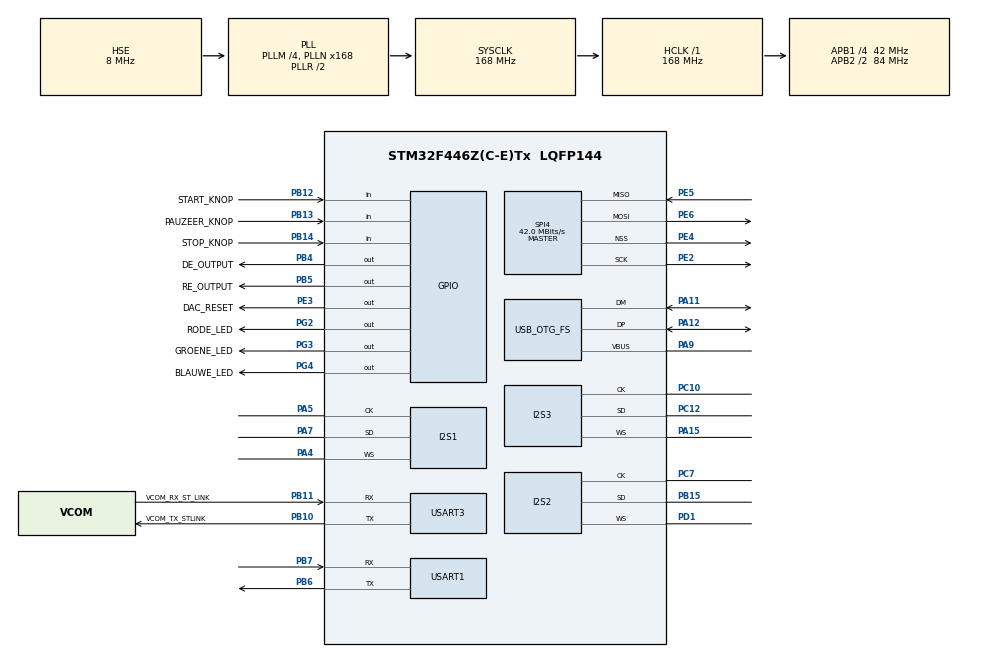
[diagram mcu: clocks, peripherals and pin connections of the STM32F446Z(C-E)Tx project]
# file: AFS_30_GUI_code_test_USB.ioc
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I2S1.AudioFreq=I2S_AUDIOFREQ_48K
I2S1.DataFormat=I2S_DATAFORMAT_24B
I2S1.ErrorAudioFreq=1.72 %
I2S1.FullDuplexMode=I2S_FULLDUPLEXMODE_DISABLE
I2S1.Instance=SPI$Index
I2S1.RealAudioFreq=48.828 KHz
I2S1.Standard=I2S_STANDARD_PHILIPS
I2S1.VirtualMode=I2S_MODE_MASTER
I2S2.AudioFreq=I2S_AUDIOFREQ_48K
I2S2.DataFormat=I2S_DATAFORMAT_24B
I2S2.ErrorAudioFreq=1.72 %
I2S2.FullDuplexMode=I2S_FULLDUPLEXMODE_DISABLE
I2S2.Instance=SPI$Index
I2S2.RealAudioFreq=48.828 KHz
I2S2.VirtualMode=I2S_MODE_MASTER
I2S3.AudioFreq=I2S_AUDIOFREQ_48K
I2S3.DataFormat=I2S_DATAFORMAT_24B
I2S3.ErrorAudioFreq=1.72 %
I2S3.FullDuplexMode=I2S_FULLDUPLEXMODE_DISABLE
I2S3.Instance=SPI$Index
I2S3.RealAudioFreq=48.828 KHz
I2S3.VirtualMode=I2S_MODE_MASTER
Mcu.Family=STM32F4
Mcu.Name=STM32F446Z(C-E)Tx
Mcu.Package=LQFP144
NVIC.OTG_FS_IRQn=true\:0\:0\:false\:false\:true\:false\:true\:true
NVIC.PriorityGroup=NVIC_PRIORITYGROUP_4
PA11.Mode=Device_Only
PA11.Signal=USB_OTG_FS_DM
PA12.Mode=Device_Only
PA12.Signal=USB_OTG_FS_DP
PA13.Mode=Serial_Wire
PA13.Signal=SYS_JTMS-SWDIO
PA14.Mode=Serial_Wire
PA14.Signal=SYS_JTCK-SWCLK
PA15.Mode=Half_Duplex_Master
PA15.Signal=I2S3_WS
PA4.Mode=Half_Duplex_Master
PA4.Signal=I2S1_WS
PA5.Mode=Half_Duplex_Master
PA5.Signal=I2S1_CK
PA7.Mode=Half_Duplex_Master
PA7.Signal=I2S1_SD
PA9.Mode=Activate_VBUS
PA9.Signal=USB_OTG_FS_VBUS
PB10.GPIO_Label=VCOM_TX_STLINK
PB10.Mode=Asynchronous
PB10.Signal=USART3_TX
PB11.GPIO_Label=VCOM_RX_ST_LINK
PB11.Mode=Asynchronous
PB11.Signal=USART3_RX
PB12.GPIO_Label=START_KNOP
PB12.Signal=GPIO_Input
PB13.GPIO_Label=PAUZEER_KNOP
PB13.Signal=GPIO_Input
PB14.GPIO_Label=STOP_KNOP
PB14.Signal=GPIO_Input
PB15.Mode=Half_Duplex_Master
PB15.Signal=I2S2_SD
PB4.GPIO_Label=DE_OUTPUT
PB4.Signal=GPIO_Output
PB5.GPIO_Label=RE_OUTPUT
PB5.Signal=GPIO_Output
PB6.Mode=Asynchronous
PB6.Signal=USART1_TX
PB7.Mode=Asynchronous
PB7.Signal=USART1_RX
PC10.Mode=Half_Duplex_Master
PC10.Signal=I2S3_CK
PC12.Mode=Half_Duplex_Master
PC12.Signal=I2S3_SD
PC7.Mode=Half_Duplex_Master
PC7.Signal=I2S2_CK
PD1.Mode=Half_Duplex_Master
PD1.Signal=I2S2_WS
PE2.Mode=Full_Duplex_Master
PE2.Signal=SPI4_SCK
PE3.GPIO_Label=DAC_RESET
PE3.Signal=GPIO_Output
PE4.Mode=NSS_Signal_Hard_Output
PE4.Signal=SPI4_NSS
PE5.Mode=Full_Duplex_Master
PE5.Signal=SPI4_MISO
PE6.Mode=Full_Duplex_Master
PE6.Signal=SPI4_MOSI
PG2.GPIO_Label=RODE_LED
PG2.Signal=GPIO_Output
PG3.GPIO_Label=GROENE_LED
PG3.Signal=GPIO_Output
PG4.GPIO_Label=BLAUWE_LED
PG4.Signal=GPIO_Output
PH0-OSC_IN.Mode=HSE-External-Oscillator
PH0-OSC_IN.Signal=RCC_OSC_IN
PH1-OSC_OUT.Mode=HSE-External-Oscillator
PH1-OSC_OUT.Signal=RCC_OSC_OUT
ProjectManager.HeapSize=0x200
ProjectManager.StackSize=0x400
ProjectManager.TargetToolchain=STM32CubeIDE
RCC.AHBFreq_Value=168000000
RCC.APB1CLKDivider=RCC_HCLK_DIV4
RCC.APB1Freq_Value=42000000
RCC.APB1TimFreq_Value=84000000
RCC.APB2CLKDivider=RCC_HCLK_DIV2
RCC.APB2Freq_Value=84000000
RCC.APB2TimFreq_Value=168000000
RCC.CortexFreq_Value=168000000
RCC.HCLKFreq_Value=168000000
RCC.HSE_VALUE=8000000
RCC.PLLI2SM=6
RCC.PLLI2SN=75
RCC.PLLM=4
RCC.PLLN=168
RCC.PLLQ=7
RCC.SYSCLKFreq_VALUE=168000000
RCC.SYSCLKSource=RCC_SYSCLKSOURCE_PLLRCLK
RCC.USBFreq_Value=48000000
RCC.VCOOutputFreq_Value=336000000
SPI4.BaudRatePrescaler=SPI_BAUDRATEPRESCALER_2
SPI4.CalculateBaudRate=42.0 MBits/s
SPI4.Direction=SPI_DIRECTION_2LINES
SPI4.Mode=SPI_MODE_MASTER
SPI4.VirtualNSS=VM_NSSHARD
SPI4.VirtualType=VM_MASTER
USART1.VirtualMode=VM_ASYNC
USART3.VirtualMode=VM_ASYNC
USB_DEVICE.CLASS_NAME_FS=CDC
USB_DEVICE.PRODUCT_STRING_CDC_FS=YOUNES STM32
USB_DEVICE.VirtualMode-CDC_FS=Cdc
USB_DEVICE.VirtualModeFS=Cdc_FS
USB_OTG_FS.VirtualMode=Device_Only
VP_USB_DEVICE_VS_USB_DEVICE_CDC_FS.Mode=CDC_FS
board=custom

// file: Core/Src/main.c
/* USER CODE BEGIN Header */
/**
  ******************************************************************************
  * @file           : main.c
  * @brief          : Main program body
  ******************************************************************************
  * @attention
  *
  * Copyright (c) 2024 STMicroelectronics.
  * All rights reserved.
  *
  * This software is licensed under terms that can be found in the LICENSE file
  * in the root directory of this software component.
  * If no LICENSE file comes with this software, it is provided AS-IS.
  *
  ******************************************************************************
  */
/* USER CODE END Header */
#include "main.h"
#include "usb_device.h"

/* USER CODE BEGIN Includes */
#include <string.h>
#include <stdio.h>
/* USER CODE END Includes */

/* USER CODE BEGIN PD */
#define GPIO_PORT_VBUS GPIOA   // De GPIO-poort voor VBUS (bijv. GPIOA)
#define GPIO_PIN_VBUS  GPIO_PIN_9   // De specifieke pin (bijv. pin 9 op GPIOA)

#define BUFFER_SIZE 1024   // Vergroot de buffer naar 512 karakters
#define WAITING_FOR_SETTINGS "WACHT_OP_INSTELLINGEN"
#define READY_STATUS "GEREED"
#define TEST_RUNNING "BEZIG_MET_TEST"
#define TEST_PAUSED "GEPAUZEERD"
#define TEST_COMPLETED "VOLTOOID"
#define TEST_STOPPED "GESTOPT"

/* USER CODE END PD */

I2S_HandleTypeDef hi2s1;
I2S_HandleTypeDef hi2s2;
I2S_HandleTypeDef hi2s3;

SPI_HandleTypeDef hspi4;

UART_HandleTypeDef huart1;
UART_HandleTypeDef huart3;

/* USER CODE BEGIN PV */

char *data= "Hello world, USB is working \r\n";
uint8_t buffer [64];
char receivedData[BUFFER_SIZE];  // Buffer to store received data
uint32_t receivedLength = 0;  // Houd de lengte van de ontvangen data bij
float stroom_s1, stroom_s2, stroom_s3;

// Globale variabelen voor THD scenario 1
float thd_s1_rms;  // RMS stroom voor THD scenario 1
int thd_s1_3h, thd_s1_5h, thd_s1_7h, thd_s1_9h, thd_s1_11h, thd_s1_13h;  // Oneven harmonischen voor THD scenario 1

// Globale variabelen voor THD scenario 2
float thd_s2_rms;  // RMS stroom voor THD scenario 2
int thd_s2_3h, thd_s2_5h, thd_s2_7h, thd_s2_9h, thd_s2_11h, thd_s2_13h;  // Oneven harmonischen voor THD scenario 2

// Globale variabelen voor THD scenario 3
float thd_s3_rms;  // RMS stroom voor THD scenario 3
int thd_s3_3h, thd_s3_5h, thd_s3_7h, thd_s3_9h, thd_s3_11h, thd_s3_13h;  // Oneven harmonischen voor THD scenario 3
int start_testprocedure;

/* USER CODE END PV */

void SystemClock_Config(void);
void PeriphCommonClock_Config(void);
static void MX_GPIO_Init(void);
static void MX_I2S1_Init(void);
static void MX_I2S2_Init(void);
static void MX_I2S3_Init(void);
static void MX_SPI4_Init(void);
static void MX_USART1_UART_Init(void);
static void MX_USART3_UART_Init(void);

/* USER CODE BEGIN 0 */
//void CheckReceivedData(void)
//{
//  /* Check if the received data contains the target string */
//  if (strstr(receivedData, "Hello world, USB is working") != NULL) {
//
//    /* Clear the buffer after matching */
//    memset(receivedData, '\0', sizeof(receivedData));
//    receivedLength = 0;
//  }
//
//}
/* USER CODE BEGIN PD */

/* USER CODE END PD */

/* USER CODE BEGIN 4 */

// Functie om status door te geven via USB
void send_active_scenario_to_gui(int scenario_number) {
    char scenario_message[64];
    sprintf(scenario_message, "ACTIEF_SCENARIO=%d\n", scenario_number);
    send_status_to_gui(scenario_message);
}

void send_status_to_gui(char* status_message) {
    CDC_Transmit_FS((uint8_t *)status_message, strlen(status_message));
}

// Functie om te checken of de knoppen voor starten, pauzeren of stoppen zijn ingedrukt

// Simuleer de ontvangst van instellingen en stuur statusupdates naar de GUI
void receive_settings_and_update_status(void) {
    // Wachten op instellingen

    send_status_to_gui(WAITING_FOR_SETTINGS);

    // Simuleer een vertraging voor het ontvangen van instellingen

    // Zodra instellingen zijn ontvangen, stuur de status "Gereed"

}

// Functie om de volledige testprocedure te beheren
void run_test_procedure(void) {
    // Start de testprocedure

	if (start_testprocedure== 1){
		send_status_to_gui(TEST_RUNNING);
	    for (int scenario = 1; scenario <= 6; scenario++) {
	        // Stuur het actieve scenario naar de GUI
	        send_active_scenario_to_gui(scenario);

	        // Simuleer een vertraging tijdens het draaien van dit scenario
	        HAL_Delay(5000);  // 5 seconden per scenario
	    }

	    // Eindig met het versturen van de voltooid-status
	    send_status_to_gui(TEST_COMPLETED);

	}

    // Simuleer het uitvoeren van de test

}
void CheckReceivedData(void)
{
  // Simuleer het ontvangen van data (normaliter via USB/UART)
  if (receivedLength > 0) {
    parse_received_data(receivedData);  // Verwerk de ontvangen gegevens
    memset(receivedData, 0, BUFFER_SIZE);  // Clear de buffer na verwerking
    receivedLength = 0;
  }
}

// Functie om de ontvangen data te parsen
void parse_received_data(char* data)
{
    // Verwacht dataformaat: "STROOM_S1=100.000;STROOM_S2=200.000;THD_S1_RMS=50.000;..."
    // Verwacht dataformaat:
    // "STROOM_S1=100.000;STROOM_S2=200.000;STROOM_S3=300.000;THD_S1_RMS=50.000;THD_S1_3H=15;...THD_S3_13H=10;"

    sscanf(data,
           "STROOM_S1=%f;STROOM_S2=%f;STROOM_S3=%f;THD_S1_RMS=%f;THD_S1_3H=%d;THD_S1_5H=%d;"
           "THD_S1_7H=%d;THD_S1_9H=%d;THD_S1_11H=%d;THD_S1_13H=%d;"
           "THD_S2_RMS=%f;THD_S2_3H=%d;THD_S2_5H=%d;THD_S2_7H=%d;THD_S2_9H=%d;THD_S2_11H=%d;THD_S2_13H=%d;"
           "THD_S3_RMS=%f;THD_S3_3H=%d;THD_S3_5H=%d;THD_S3_7H=%d;THD_S3_9H=%d;THD_S3_11H=%d;THD_S3_13H=%d;",
           &stroom_s1, &stroom_s2, &stroom_s3,
           &thd_s1_rms, &thd_s1_3h, &thd_s1_5h, &thd_s1_7h, &thd_s1_9h, &thd_s1_11h, &thd_s1_13h,
           &thd_s2_rms, &thd_s2_3h, &thd_s2_5h, &thd_s2_7h, &thd_s2_9h, &thd_s2_11h, &thd_s2_13h,
           &thd_s3_rms, &thd_s3_3h, &thd_s3_5h, &thd_s3_7h, &thd_s3_9h, &thd_s3_11h, &thd_s3_13h);

	send_status_to_gui(READY_STATUS);
	start_testprocedure= 1;

}
/* USER CODE END 0 */

int main(void)
{

  /* MCU Configuration--------------------------------------------------------*/

  /* Reset of all peripherals, Initializes the Flash interface and the Systick. */
  HAL_Init();

  /* Configure the system clock */
  SystemClock_Config();

/* Configure the peripherals common clocks */
  PeriphCommonClock_Config();

  /* Initialize all configured peripherals */
  MX_GPIO_Init();
  MX_I2S1_Init();
  MX_I2S2_Init();
  MX_I2S3_Init();
  MX_SPI4_Init();
  MX_USART1_UART_Init();
  MX_USART3_UART_Init();
  MX_USB_DEVICE_Init();
  /* USER CODE BEGIN 2 */

  /////// KLOK FREQEUNTIE OP 12 MHZ zetten////
  /////// KLOK FREQEUNTIE OP 12 MHZ zetten////
  /////// KLOK FREQEUNTIE OP 12 MHZ zetten////
  /////// KLOK FREQEUNTIE OP 12 MHZ zetten////

  /////// KLOK FREQEUNTIE OP 8 MHZ zetten////
  /////// KLOK FREQEUNTIE OP 8 MHZ zetten voor nucleo board////
  start_testprocedure=0;
  while (!(HAL_GPIO_ReadPin(GPIO_PORT_VBUS, GPIO_PIN_VBUS) == GPIO_PIN_SET));
//      // VBUS is present, USB can be initialized

 // simulatie tesprocedure met alle statussen
  HAL_Delay(2000);
  receive_settings_and_update_status();
//  HAL_Delay(6000);
//  send_status_to_gui(READY_STATUS);
//  HAL_Delay(5000);
//  run_test_procedure();
//  HAL_Delay(5000);
//  send_status_to_gui(TEST_PAUSED);
//  HAL_Delay(5000);
//  run_test_procedure();
//  HAL_Delay(2000);
//  send_status_to_gui(TEST_STOPPED);
//  HAL_Delay(5000);
//  send_status_to_gui(TEST_COMPLETED);
  while (!(start_testprocedure==1));
  HAL_Delay(5000);
  run_test_procedure();

  /* USER CODE END 2 */

  /* Infinite loop */
  while (1)
  {

  }
}

void SystemClock_Config(void)
{
  RCC_OscInitTypeDef RCC_OscInitStruct = {0};
  RCC_ClkInitTypeDef RCC_ClkInitStruct = {0};

  /** Configure the main internal regulator output voltage
  */
  __HAL_RCC_PWR_CLK_ENABLE();
  __HAL_PWR_VOLTAGESCALING_CONFIG(PWR_REGULATOR_VOLTAGE_SCALE1);

  /** Initializes the RCC Oscillators according to the specified parameters
  * in the RCC_OscInitTypeDef structure.
  */
  RCC_OscInitStruct.OscillatorType = RCC_OSCILLATORTYPE_HSE;
  RCC_OscInitStruct.HSEState = RCC_HSE_ON;
  RCC_OscInitStruct.PLL.PLLState = RCC_PLL_ON;
  RCC_OscInitStruct.PLL.PLLSource = RCC_PLLSOURCE_HSE;
  RCC_OscInitStruct.PLL.PLLM = 4;
  RCC_OscInitStruct.PLL.PLLN = 168;
  RCC_OscInitStruct.PLL.PLLP = RCC_PLLP_DIV2;
  RCC_OscInitStruct.PLL.PLLQ = 7;
  RCC_OscInitStruct.PLL.PLLR = 2;
  if (HAL_RCC_OscConfig(&RCC_OscInitStruct) != HAL_OK)
  {
    Error_Handler();
  }

  /** Initializes the CPU, AHB and APB buses clocks
  */
  RCC_ClkInitStruct.ClockType = RCC_CLOCKTYPE_HCLK|RCC_CLOCKTYPE_SYSCLK
                              |RCC_CLOCKTYPE_PCLK1|RCC_CLOCKTYPE_PCLK2;
  RCC_ClkInitStruct.SYSCLKSource = RCC_SYSCLKSOURCE_PLLRCLK;
  RCC_ClkInitStruct.AHBCLKDivider = RCC_SYSCLK_DIV1;
  RCC_ClkInitStruct.APB1CLKDivider = RCC_HCLK_DIV4;
  RCC_ClkInitStruct.APB2CLKDivider = RCC_HCLK_DIV2;

  if (HAL_RCC_ClockConfig(&RCC_ClkInitStruct, FLASH_LATENCY_5) != HAL_OK)
  {
    Error_Handler();
  }
}

void PeriphCommonClock_Config(void)
{
  RCC_PeriphCLKInitTypeDef PeriphClkInitStruct = {0};

  /** Initializes the peripherals clock
  */
  PeriphClkInitStruct.PeriphClockSelection = RCC_PERIPHCLK_I2S_APB1|RCC_PERIPHCLK_I2S_APB2;
  PeriphClkInitStruct.PLLI2S.PLLI2SN = 75;
  PeriphClkInitStruct.PLLI2S.PLLI2SP = RCC_PLLI2SP_DIV2;
  PeriphClkInitStruct.PLLI2S.PLLI2SM = 6;
  PeriphClkInitStruct.PLLI2S.PLLI2SR = 2;
  PeriphClkInitStruct.PLLI2S.PLLI2SQ = 2;
  PeriphClkInitStruct.PLLI2SDivQ = 1;
  PeriphClkInitStruct.I2sApb2ClockSelection = RCC_I2SAPB2CLKSOURCE_PLLI2S;
  PeriphClkInitStruct.I2sApb1ClockSelection = RCC_I2SAPB1CLKSOURCE_PLLI2S;
  if (HAL_RCCEx_PeriphCLKConfig(&PeriphClkInitStruct) != HAL_OK)
  {
    Error_Handler();
  }
}

static void MX_I2S1_Init(void)
{

  hi2s1.Instance = SPI1;
  hi2s1.Init.Mode = I2S_MODE_MASTER_TX;
  hi2s1.Init.Standard = I2S_STANDARD_PHILIPS;
  hi2s1.Init.DataFormat = I2S_DATAFORMAT_24B;
  hi2s1.Init.MCLKOutput = I2S_MCLKOUTPUT_DISABLE;
  hi2s1.Init.AudioFreq = I2S_AUDIOFREQ_48K;
  hi2s1.Init.CPOL = I2S_CPOL_LOW;
  hi2s1.Init.ClockSource = I2S_CLOCK_PLL;
  hi2s1.Init.FullDuplexMode = I2S_FULLDUPLEXMODE_DISABLE;
  if (HAL_I2S_Init(&hi2s1) != HAL_OK)
  {
    Error_Handler();
  }

}

static void MX_I2S2_Init(void)
{

  hi2s2.Instance = SPI2;
  hi2s2.Init.Mode = I2S_MODE_MASTER_TX;
  hi2s2.Init.Standard = I2S_STANDARD_PHILIPS;
  hi2s2.Init.DataFormat = I2S_DATAFORMAT_24B;
  hi2s2.Init.MCLKOutput = I2S_MCLKOUTPUT_DISABLE;
  hi2s2.Init.AudioFreq = I2S_AUDIOFREQ_48K;
  hi2s2.Init.CPOL = I2S_CPOL_LOW;
  hi2s2.Init.ClockSource = I2S_CLOCK_PLL;
  hi2s2.Init.FullDuplexMode = I2S_FULLDUPLEXMODE_DISABLE;
  if (HAL_I2S_Init(&hi2s2) != HAL_OK)
  {
    Error_Handler();
  }

}

static void MX_I2S3_Init(void)
{

  hi2s3.Instance = SPI3;
  hi2s3.Init.Mode = I2S_MODE_MASTER_TX;
  hi2s3.Init.Standard = I2S_STANDARD_PHILIPS;
  hi2s3.Init.DataFormat = I2S_DATAFORMAT_24B;
  hi2s3.Init.MCLKOutput = I2S_MCLKOUTPUT_DISABLE;
  hi2s3.Init.AudioFreq = I2S_AUDIOFREQ_48K;
  hi2s3.Init.CPOL = I2S_CPOL_LOW;
  hi2s3.Init.ClockSource = I2S_CLOCK_PLL;
  hi2s3.Init.FullDuplexMode = I2S_FULLDUPLEXMODE_DISABLE;
  if (HAL_I2S_Init(&hi2s3) != HAL_OK)
  {
    Error_Handler();
  }

}

static void MX_SPI4_Init(void)
{

  /* SPI4 parameter configuration*/
  hspi4.Instance = SPI4;
  hspi4.Init.Mode = SPI_MODE_MASTER;
  hspi4.Init.Direction = SPI_DIRECTION_2LINES;
  hspi4.Init.DataSize = SPI_DATASIZE_8BIT;
  hspi4.Init.CLKPolarity = SPI_POLARITY_LOW;
  hspi4.Init.CLKPhase = SPI_PHASE_1EDGE;
  hspi4.Init.NSS = SPI_NSS_HARD_OUTPUT;
  hspi4.Init.BaudRatePrescaler = SPI_BAUDRATEPRESCALER_2;
  hspi4.Init.FirstBit = SPI_FIRSTBIT_MSB;
  hspi4.Init.TIMode = SPI_TIMODE_DISABLE;
  hspi4.Init.CRCCalculation = SPI_CRCCALCULATION_DISABLE;
  hspi4.Init.CRCPolynomial = 10;
  if (HAL_SPI_Init(&hspi4) != HAL_OK)
  {
    Error_Handler();
  }

}

static void MX_USART1_UART_Init(void)
{

  huart1.Instance = USART1;
  huart1.Init.BaudRate = 115200;
  huart1.Init.WordLength = UART_WORDLENGTH_8B;
  huart1.Init.StopBits = UART_STOPBITS_1;
  huart1.Init.Parity = UART_PARITY_NONE;
  huart1.Init.Mode = UART_MODE_TX_RX;
  huart1.Init.HwFlowCtl = UART_HWCONTROL_NONE;
  huart1.Init.OverSampling = UART_OVERSAMPLING_16;
  if (HAL_UART_Init(&huart1) != HAL_OK)
  {
    Error_Handler();
  }

}

static void MX_USART3_UART_Init(void)
{

  huart3.Instance = USART3;
  huart3.Init.BaudRate = 115200;
  huart3.Init.WordLength = UART_WORDLENGTH_8B;
  huart3.Init.StopBits = UART_STOPBITS_1;
  huart3.Init.Parity = UART_PARITY_NONE;
  huart3.Init.Mode = UART_MODE_TX_RX;
  huart3.Init.HwFlowCtl = UART_HWCONTROL_NONE;
  huart3.Init.OverSampling = UART_OVERSAMPLING_16;
  if (HAL_UART_Init(&huart3) != HAL_OK)
  {
    Error_Handler();
  }

}

static void MX_GPIO_Init(void)
{
  GPIO_InitTypeDef GPIO_InitStruct = {0};

  /* GPIO Ports Clock Enable */
  __HAL_RCC_GPIOE_CLK_ENABLE();
  __HAL_RCC_GPIOH_CLK_ENABLE();
  __HAL_RCC_GPIOA_CLK_ENABLE();
  __HAL_RCC_GPIOB_CLK_ENABLE();
  __HAL_RCC_GPIOG_CLK_ENABLE();
  __HAL_RCC_GPIOC_CLK_ENABLE();
  __HAL_RCC_GPIOD_CLK_ENABLE();

  /*Configure GPIO pin Output Level */
  HAL_GPIO_WritePin(DAC_RESET_GPIO_Port, DAC_RESET_Pin, GPIO_PIN_RESET);

  /*Configure GPIO pin Output Level */
  HAL_GPIO_WritePin(GPIOG, RODE_LED_Pin|GROENE_LED_Pin|BLAUWE_LED_Pin, GPIO_PIN_RESET);

  /*Configure GPIO pin Output Level */
  HAL_GPIO_WritePin(GPIOB, DE_OUTPUT_Pin|RE_OUTPUT_Pin, GPIO_PIN_RESET);

  /*Configure GPIO pin : DAC_RESET_Pin */
  GPIO_InitStruct.Pin = DAC_RESET_Pin;
  GPIO_InitStruct.Mode = GPIO_MODE_OUTPUT_PP;
  GPIO_InitStruct.Pull = GPIO_NOPULL;
  GPIO_InitStruct.Speed = GPIO_SPEED_FREQ_LOW;
  HAL_GPIO_Init(DAC_RESET_GPIO_Port, &GPIO_InitStruct);

  /*Configure GPIO pins : START_KNOP_Pin PAUZEER_KNOP_Pin STOP_KNOP_Pin */
  GPIO_InitStruct.Pin = START_KNOP_Pin|PAUZEER_KNOP_Pin|STOP_KNOP_Pin;
  GPIO_InitStruct.Mode = GPIO_MODE_INPUT;
  GPIO_InitStruct.Pull = GPIO_NOPULL;
  HAL_GPIO_Init(GPIOB, &GPIO_InitStruct);

  /*Configure GPIO pins : RODE_LED_Pin GROENE_LED_Pin BLAUWE_LED_Pin */
  GPIO_InitStruct.Pin = RODE_LED_Pin|GROENE_LED_Pin|BLAUWE_LED_Pin;
  GPIO_InitStruct.Mode = GPIO_MODE_OUTPUT_PP;
  GPIO_InitStruct.Pull = GPIO_NOPULL;
  GPIO_InitStruct.Speed = GPIO_SPEED_FREQ_LOW;
  HAL_GPIO_Init(GPIOG, &GPIO_InitStruct);

  /*Configure GPIO pins : DE_OUTPUT_Pin RE_OUTPUT_Pin */
  GPIO_InitStruct.Pin = DE_OUTPUT_Pin|RE_OUTPUT_Pin;
  GPIO_InitStruct.Mode = GPIO_MODE_OUTPUT_PP;
  GPIO_InitStruct.Pull = GPIO_NOPULL;
  GPIO_InitStruct.Speed = GPIO_SPEED_FREQ_LOW;
  HAL_GPIO_Init(GPIOB, &GPIO_InitStruct);

}

void Error_Handler(void)
{
  __disable_irq();
  while (1)
  {
  }
}
